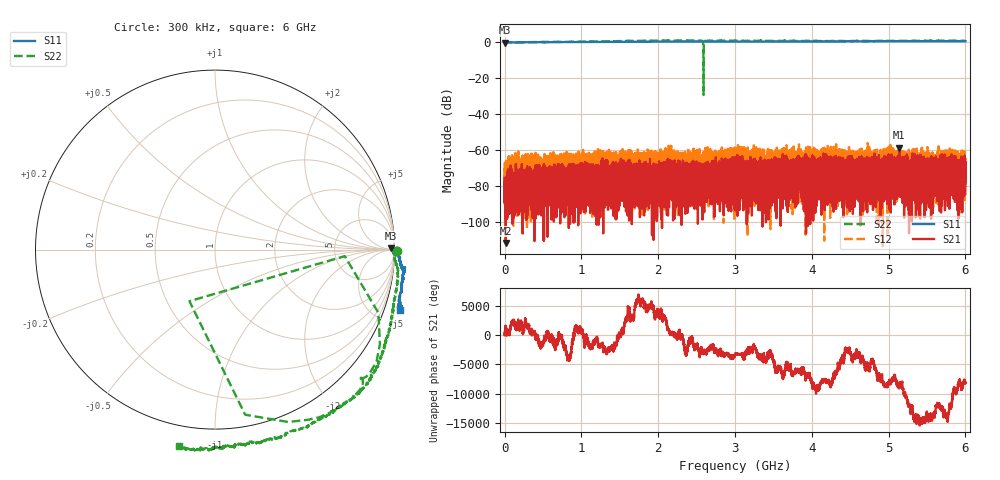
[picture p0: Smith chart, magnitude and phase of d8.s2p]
!Agilent Technologies,N5230C,SG49000117,A.08.50.07
!Agilent N5230C: A.08.50.07
!Date: Thursday, May 16, 2024 21:20:15
!Correction: S11(Full 2 Port(1,2))
!S21(Full 2 Port(1,2))
!S12(Full 2 Port(1,2))
!S22(Full 2 Port(1,2))
!S2P File: Measurements: S11, S21, S12, S22:
# Hz S  MA  R 50
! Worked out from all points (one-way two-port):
!   20001 points, 300 kHz to 6 GHz, reference 50 ohm
!   highest |S21| = -58.46 dB at 5.137 GHz (marker M1); lowest = -111.4 dB at 16.2 MHz (marker M2)
!   lowest |S11| = -0.2 dB at 600 kHz (marker M3), VSWR 110.24, Z = 4.69e+03 + j1.96e+03 ohm
!   |S11| at or under -10 dB: nowhere
!   |S22| runs from -29.2 to 1.1 dB; largest |S21 - S12| = 0.0018
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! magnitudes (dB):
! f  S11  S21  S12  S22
! 300 kHz  0.1  -75.3  -66.8  0.1
! 600 kHz  -0.2  -89.3  -72.4  -0.3
! 16.2 MHz  0.0  -111.4  -71.6  0.0
! 1 GHz  0.3  -74.0  -67.9  0.4
! 2 GHz  0.5  -77.3  -63.5  1.0
! 2.144 GHz  0.5  -70.6  -73.4  1.0
! 2.254 GHz  0.5  -75.4  -93.1  1.0
! 2.783 GHz  0.5  -71.2  -65.1  1.0
! 3 GHz  0.5  -81.2  -61.5  1.0
! 3.382 GHz  0.5  -73.8  -69.0  0.9
! 3.617 GHz  0.5  -74.1  -68.7  0.9
! 4 GHz  0.5  -73.3  -63.9  0.9
! 4.094 GHz  0.6  -69.8  -73.3  0.8
! 4.198 GHz  0.6  -67.4  -62.9  0.8
! 4.452 GHz  0.7  -70.1  -69.2  0.8
! 4.71 GHz  0.6  -67.0  -63.2  0.8
! 4.789 GHz  0.7  -71.8  -69.0  0.8
! 5 GHz  0.7  -70.5  -64.5  0.9
! 5.137 GHz  0.7  -58.5  -63.9  0.9
! 5.602 GHz  0.7  -68.1  -67.5  1.0
! 5.97 GHz  0.7  -77.8  -69.1  1.0
! 6 GHz  0.7  -77.5  -65.4  0.9
